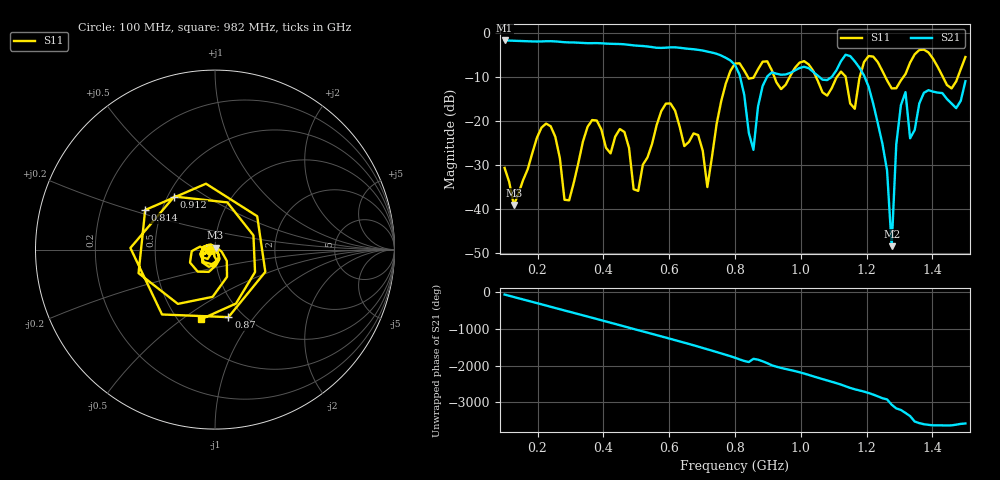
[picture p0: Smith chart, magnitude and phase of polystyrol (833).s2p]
! NanoVNA-App
! Date: 2025-09-25 15:36:22
! Start: 100MHz Stop: 1,5GHz Points: 101
! S-Parameter data: F S11 S21 S12 S22
# Hz S RI R 50
!  Frequency  S11_Real  S11_Imag  S21_Real  S21_Imag  S12_Real  S12_Imag  S22_Real  S22_Imag
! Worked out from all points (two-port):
!   101 points, 100 MHz to 1.5 GHz, reference 50 ohm
!   highest |S21| = -1.80 dB at 100 MHz (marker M1); lowest = -48.5 dB at 1.276 GHz (marker M2)
!   |S21| within 3 dB of the highest: start of sweep to 743.2 MHz
!   lowest |S11| = -39.1 dB at 128 MHz (marker M3), VSWR 1.02, Z = 50.3 + j1.06 ohm
!   |S11| at or under -10 dB: start of sweep to 779.8 MHz; 1.046 GHz to 1.111 GHz (64.99 MHz wide, 6.03 % of centre); 1.256 GHz to 1.312 GHz (56.14 MHz wide, 4.37 % of centre) (the widest 3 of 7)
!   S12 and S22 are empty: the file has one direction only
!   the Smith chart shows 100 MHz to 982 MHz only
!   S11 on the Smith chart (normalised r, x): 100 MHz: 0.94, -0.01; 814 MHz: 0.40, +0.22; 870 MHz: 0.85, -0.75; 912 MHz: 0.54, +0.37; 982 MHz: 0.64, -0.59
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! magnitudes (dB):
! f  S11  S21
! 100 MHz  -30.7  -1.8
! 128 MHz  -39.1  -1.9
! 212 MHz  -21.6  -2.0
! 282 MHz  -37.9  -2.2
! 338 MHz  -24.7  -2.4
! 506 MHz  -35.9  -3.0
! 576 MHz  -17.8  -3.5
! 716 MHz  -35.0  -4.3
! 800 MHz  -7.0  -7.3
! 814 MHz  -7.0  -9.6
! 856 MHz  -10.3  -26.6
! 870 MHz  -8.3  -16.7
! 912 MHz  -8.6  -9.0
! 982 MHz  -8.0  -8.6
! 1.038 GHz  -8.8  -8.9
! 1.192 GHz  -6.7  -9.7
! 1.262 GHz  -10.9  -31.3
! 1.276 GHz  -12.7  -48.5
! 1.29 GHz  -12.6  -25.3
! 1.318 GHz  -9.4  -13.5
! 1.332 GHz  -6.8  -24.0
! 1.5 GHz  -5.6  -11.0
